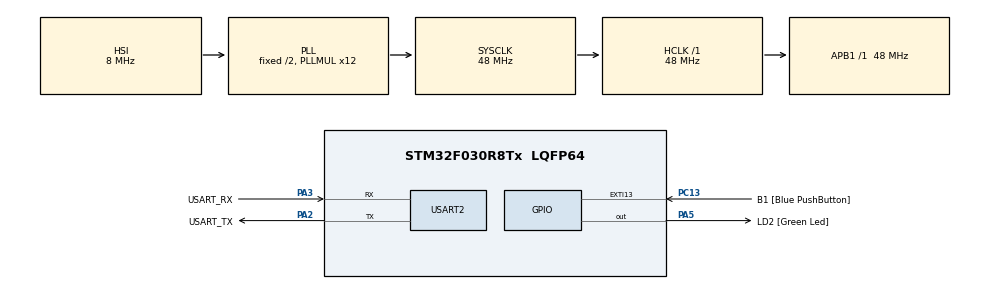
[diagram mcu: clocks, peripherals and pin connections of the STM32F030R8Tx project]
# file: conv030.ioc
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Mcu.Family=STM32F0
Mcu.Name=STM32F030R8Tx
Mcu.Package=LQFP64
PA13.GPIO_Label=TMS
PA13.Mode=Serial_Wire
PA13.Signal=SYS_SWDIO
PA14.GPIO_Label=TCK
PA14.Mode=Serial_Wire
PA14.Signal=SYS_SWCLK
PA2.GPIO_Label=USART_TX
PA2.GPIO_Mode=GPIO_MODE_AF_PP
PA2.GPIO_PuPd=GPIO_NOPULL
PA2.GPIO_Speed=GPIO_SPEED_FREQ_LOW
PA2.Mode=Asynchronous
PA2.Signal=USART2_TX
PA3.GPIO_Label=USART_RX
PA3.GPIO_Mode=GPIO_MODE_AF_PP
PA3.GPIO_PuPd=GPIO_NOPULL
PA3.GPIO_Speed=GPIO_SPEED_FREQ_LOW
PA3.Mode=Asynchronous
PA3.Signal=USART2_RX
PA5.GPIO_Label=LD2 [Green Led]
PA5.GPIO_Mode=GPIO_MODE_OUTPUT_PP
PA5.GPIO_PuPd=GPIO_NOPULL
PA5.GPIO_Speed=GPIO_SPEED_FREQ_LOW
PA5.Signal=GPIO_Output
PC13.GPIO_Label=B1 [Blue PushButton]
PC13.GPIO_ModeDefaultEXTI=GPIO_MODE_IT_FALLING
PC13.Signal=GPXTI13
PC14-OSC32_IN.Mode=LSE-External-Oscillator
PC14-OSC32_IN.Signal=RCC_OSC32_IN
PC15-OSC32_OUT.Mode=LSE-External-Oscillator
PC15-OSC32_OUT.Signal=RCC_OSC32_OUT
PF0-OSC_IN.Mode=HSE-External-Clock-Source
PF0-OSC_IN.Signal=RCC_OSC_IN
PF1-OSC_OUT.Signal=RCC_OSC_OUT
ProjectManager.HeapSize=0x200
ProjectManager.StackSize=0x400
ProjectManager.TargetToolchain=STM32CubeIDE
RCC.AHBFreq_Value=48000000
RCC.APB1Freq_Value=48000000
RCC.APB1TimFreq_Value=48000000
RCC.HCLKFreq_Value=48000000
RCC.PLLMUL=RCC_PLL_MUL12
RCC.SYSCLKFreq_VALUE=48000000
RCC.SYSCLKSource=RCC_SYSCLKSOURCE_PLLCLK
USART2.VirtualMode-Asynchronous=VM_ASYNC
VP_TIM3_VS_ClockSourceINT.Mode=Internal
board=NUCLEO-F030R8

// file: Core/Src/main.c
/* USER CODE BEGIN Header */
/* USER CODE END Header */
#include "main.h"

/* USER CODE BEGIN PD */
#define IMG_WIDTH_TOTAL  10
#define IMG_HEIGHT_TOTAL 10

/**
 * @brief Dimensão útil da imagem onde a convolução é aplicada (8×8 pixels).
 */
#define IMG_WIDTH_USEFUL 8
#define IMG_HEIGHT_USEFUL 8

/**
 * @brief Quantidade de bytes recebidos por bloco (imagem completa 10×10).
 */
#define BLOCK_RX_SIZE (IMG_WIDTH_TOTAL * IMG_HEIGHT_TOTAL)

/**
 * @brief Quantidade de bytes enviados após processamento (imagem 8×8).
 */
#define BLOCK_TX_SIZE (IMG_WIDTH_USEFUL * IMG_HEIGHT_USEFUL)

/* USER CODE END PD */

TIM_HandleTypeDef htim3;

UART_HandleTypeDef huart2;

/* USER CODE BEGIN PV */
uint8_t rx_buffer[BLOCK_RX_SIZE];

/**
 * @brief Buffer de transmissão contendo imagem filtrada 8×8.
 */
uint8_t tx_buffer[BLOCK_TX_SIZE];

/**
 * @brief Sequência de reconhecimento (ACK). Enviada antes e depois de cada bloco.
 */
uint8_t ack[2] = {0xAA, 0x55};

/**
 * @brief Kernel 3×3 utilizado no processamento.
 */
const int Filter[3][3] = {
    {-1, 0, 1},
    {-2, 0, 2},
    {-1, 0, 1}
};
uint32_t t_start, t_end, t_exec_us;

/**
 * @brief Inicializa a LUT de multiplicação pixel × peso.
 */

/* USER CODE END PV */

void SystemClock_Config(void);
static void MX_GPIO_Init(void);
static void MX_USART2_UART_Init(void);
static void MX_TIM3_Init(void);
/* USER CODE BEGIN PFP */
void apply_convolution(uint8_t input[IMG_HEIGHT_TOTAL][IMG_WIDTH_TOTAL],
                       uint8_t output[IMG_HEIGHT_USEFUL][IMG_WIDTH_USEFUL],
                       const int filter[3][3]);

/* USER CODE END PFP */

int main(void)
{

  /* MCU Configuration--------------------------------------------------------*/

  /* Reset of all peripherals, Initializes the Flash interface and the Systick. */
  HAL_Init();

  /* Configure the system clock */
  SystemClock_Config();

  /* Initialize all configured peripherals */
  MX_GPIO_Init();
  MX_USART2_UART_Init();
  MX_TIM3_Init();
  HAL_TIM_Base_Start(&htim3);

  /* Infinite loop */

    /* USER CODE BEGIN 3 */
  while (1)
  {
      char msg[64];

      uint32_t t_start, t_end;
      uint32_t t_exec_us;
      uint32_t sum_us = 0;
      uint32_t min_us = 0xFFFFFFFF;
      uint32_t max_us = 0;

      uint8_t img_in[IMG_HEIGHT_TOTAL][IMG_WIDTH_TOTAL];
      uint8_t img_out[IMG_HEIGHT_USEFUL][IMG_WIDTH_USEFUL];

      /* Inicializa imagem uma única vez */
      for (int i = 0; i < IMG_HEIGHT_TOTAL; i++) {
          for (int j = 0; j < IMG_WIDTH_TOTAL; j++) {
              img_in[i][j] = i + j;
          }
      }

      /* Zera contador antes do teste */
      __HAL_TIM_SET_COUNTER(&htim3, 0);

      for (int k = 0; k < 1000; k++)
      {
          t_start = __HAL_TIM_GET_COUNTER(&htim3);

          apply_convolution_lut(img_in, img_out, Filter);

          t_end = __HAL_TIM_GET_COUNTER(&htim3);

          /* Trata overflow do timer (16 bits) */
          if (t_end >= t_start)
              t_exec_us = t_end - t_start;
          else
              t_exec_us = (0xFFFF - t_start) + t_end + 1;

          sum_us += t_exec_us;

          if (t_exec_us < min_us) min_us = t_exec_us;
          if (t_exec_us > max_us) max_us = t_exec_us;
      }

      uint32_t avg_us = sum_us / 1000;

      int len = snprintf(msg, sizeof(msg),
          "N=%d | AVG=%lu us | MIN=%lu us | MAX=%lu us\r\n",
          1000,
          (unsigned long)avg_us,
          (unsigned long)min_us,
          (unsigned long)max_us
      );

      HAL_UART_Transmit(
          &huart2,
          (uint8_t *)msg,
          len,
          HAL_MAX_DELAY
      );

      HAL_Delay(1000);
  }
  /* USER CODE END 3 */
}

void SystemClock_Config(void)
{
  RCC_OscInitTypeDef RCC_OscInitStruct = {0};
  RCC_ClkInitTypeDef RCC_ClkInitStruct = {0};

  /** Initializes the RCC Oscillators according to the specified parameters
  * in the RCC_OscInitTypeDef structure.
  */
  RCC_OscInitStruct.OscillatorType = RCC_OSCILLATORTYPE_HSI;
  RCC_OscInitStruct.HSIState = RCC_HSI_ON;
  RCC_OscInitStruct.HSICalibrationValue = RCC_HSICALIBRATION_DEFAULT;
  RCC_OscInitStruct.PLL.PLLState = RCC_PLL_ON;
  RCC_OscInitStruct.PLL.PLLSource = RCC_PLLSOURCE_HSI;
  RCC_OscInitStruct.PLL.PLLMUL = RCC_PLL_MUL12;
  RCC_OscInitStruct.PLL.PREDIV = RCC_PREDIV_DIV1;
  if (HAL_RCC_OscConfig(&RCC_OscInitStruct) != HAL_OK)
  {
    Error_Handler();
  }

  /** Initializes the CPU, AHB and APB buses clocks
  */
  RCC_ClkInitStruct.ClockType = RCC_CLOCKTYPE_HCLK|RCC_CLOCKTYPE_SYSCLK
                              |RCC_CLOCKTYPE_PCLK1;
  RCC_ClkInitStruct.SYSCLKSource = RCC_SYSCLKSOURCE_PLLCLK;
  RCC_ClkInitStruct.AHBCLKDivider = RCC_SYSCLK_DIV1;
  RCC_ClkInitStruct.APB1CLKDivider = RCC_HCLK_DIV1;

  if (HAL_RCC_ClockConfig(&RCC_ClkInitStruct, FLASH_LATENCY_1) != HAL_OK)
  {
    Error_Handler();
  }
}

static void MX_TIM3_Init(void)
{

  TIM_ClockConfigTypeDef sClockSourceConfig = {0};
  TIM_MasterConfigTypeDef sMasterConfig = {0};

  htim3.Instance = TIM3;
  htim3.Init.Prescaler = 47;
  htim3.Init.CounterMode = TIM_COUNTERMODE_UP;
  htim3.Init.Period = 65535;
  htim3.Init.ClockDivision = TIM_CLOCKDIVISION_DIV1;
  htim3.Init.AutoReloadPreload = TIM_AUTORELOAD_PRELOAD_DISABLE;
  if (HAL_TIM_Base_Init(&htim3) != HAL_OK)
  {
    Error_Handler();
  }
  sClockSourceConfig.ClockSource = TIM_CLOCKSOURCE_INTERNAL;
  if (HAL_TIM_ConfigClockSource(&htim3, &sClockSourceConfig) != HAL_OK)
  {
    Error_Handler();
  }
  sMasterConfig.MasterOutputTrigger = TIM_TRGO_RESET;
  sMasterConfig.MasterSlaveMode = TIM_MASTERSLAVEMODE_DISABLE;
  if (HAL_TIMEx_MasterConfigSynchronization(&htim3, &sMasterConfig) != HAL_OK)
  {
    Error_Handler();
  }

}

static void MX_USART2_UART_Init(void)
{

  huart2.Instance = USART2;
  huart2.Init.BaudRate = 115200;
  huart2.Init.WordLength = UART_WORDLENGTH_8B;
  huart2.Init.StopBits = UART_STOPBITS_1;
  huart2.Init.Parity = UART_PARITY_NONE;
  huart2.Init.Mode = UART_MODE_TX_RX;
  huart2.Init.HwFlowCtl = UART_HWCONTROL_NONE;
  huart2.Init.OverSampling = UART_OVERSAMPLING_16;
  huart2.Init.OneBitSampling = UART_ONE_BIT_SAMPLE_DISABLE;
  huart2.AdvancedInit.AdvFeatureInit = UART_ADVFEATURE_NO_INIT;
  if (HAL_UART_Init(&huart2) != HAL_OK)
  {
    Error_Handler();
  }

}

static void MX_GPIO_Init(void)
{
  GPIO_InitTypeDef GPIO_InitStruct = {0};

  /* GPIO Ports Clock Enable */
  __HAL_RCC_GPIOC_CLK_ENABLE();
  __HAL_RCC_GPIOF_CLK_ENABLE();
  __HAL_RCC_GPIOA_CLK_ENABLE();

  /*Configure GPIO pin Output Level */
  HAL_GPIO_WritePin(LD2_GPIO_Port, LD2_Pin, GPIO_PIN_RESET);

  /*Configure GPIO pin : B1_Pin */
  GPIO_InitStruct.Pin = B1_Pin;
  GPIO_InitStruct.Mode = GPIO_MODE_IT_FALLING;
  GPIO_InitStruct.Pull = GPIO_NOPULL;
  HAL_GPIO_Init(B1_GPIO_Port, &GPIO_InitStruct);

  /*Configure GPIO pin : LD2_Pin */
  GPIO_InitStruct.Pin = LD2_Pin;
  GPIO_InitStruct.Mode = GPIO_MODE_OUTPUT_PP;
  GPIO_InitStruct.Pull = GPIO_NOPULL;
  GPIO_InitStruct.Speed = GPIO_SPEED_FREQ_LOW;
  HAL_GPIO_Init(LD2_GPIO_Port, &GPIO_InitStruct);

}

/* USER CODE BEGIN 4 */

void apply_convolution_lut(uint8_t input[IMG_HEIGHT_TOTAL][IMG_WIDTH_TOTAL],
                            uint8_t output[IMG_HEIGHT_USEFUL][IMG_WIDTH_USEFUL],
                            const int8_t filter[3][3])
{
    for (int i = 1; i <= IMG_HEIGHT_USEFUL; i++) {
        for (int j = 1; j <= IMG_WIDTH_USEFUL; j++) {

            int32_t sum = 0;

            sum += input[i-1][j-1] * filter[0][0];
            sum += input[i-1][j  ] * filter[0][1];
            sum += input[i-1][j+1] * filter[0][2];

            sum += input[i  ][j-1] * filter[1][0];
            sum += input[i  ][j  ] * filter[1][1];
            sum += input[i  ][j+1] * filter[1][2];

            sum += input[i+1][j-1] * filter[2][0];
            sum += input[i+1][j  ] * filter[2][1];
            sum += input[i+1][j+1] * filter[2][2];

            if (sum < 0) sum = 0;
            if (sum > 255) sum = 255;

            output[i-1][j-1] = (uint8_t)sum;
        }
    }
}

/* USER CODE END 4 */

void Error_Handler(void)
{
}
